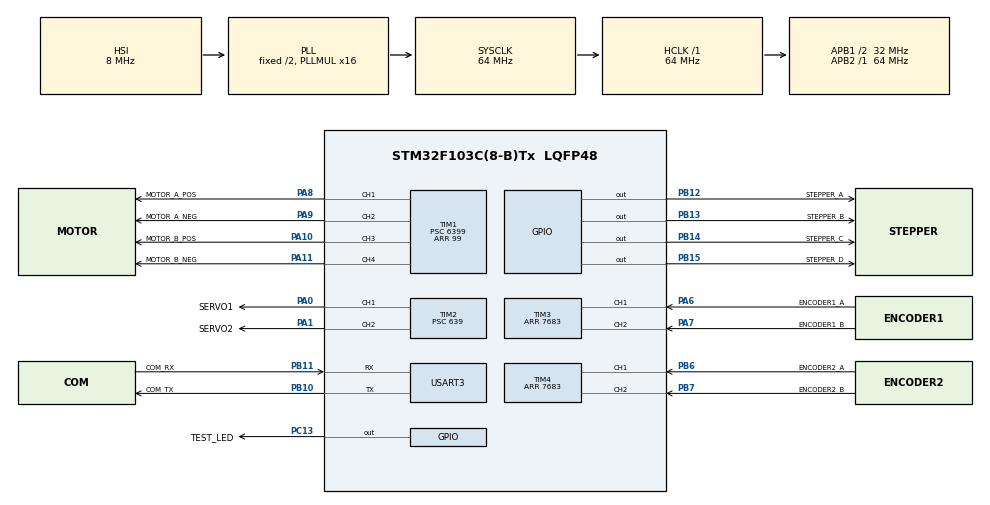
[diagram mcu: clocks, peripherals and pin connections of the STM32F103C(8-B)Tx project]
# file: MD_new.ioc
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Mcu.Family=STM32F1
Mcu.Name=STM32F103C(8-B)Tx
Mcu.Package=LQFP48
NVIC.PriorityGroup=NVIC_PRIORITYGROUP_4
NVIC.USART3_IRQn=true\:0\:0\:false\:false\:true\:true\:true
PA0-WKUP.GPIO_Label=SERVO1
PA0-WKUP.Signal=S_TIM2_CH1_ETR
PA1.GPIO_Label=SERVO2
PA1.Signal=S_TIM2_CH2
PA10.GPIO_Label=MOTOR_B_POS
PA10.Signal=S_TIM1_CH3
PA11.GPIO_Label=MOTOR_B_NEG
PA11.Signal=S_TIM1_CH4
PA6.GPIO_Label=ENCODER1_A
PA6.Signal=S_TIM3_CH1
PA7.GPIO_Label=ENCODER1_B
PA7.Signal=S_TIM3_CH2
PA8.GPIO_Label=MOTOR_A_POS
PA8.Signal=S_TIM1_CH1
PA9.GPIO_Label=MOTOR_A_NEG
PA9.Signal=S_TIM1_CH2
PB10.GPIO_Label=COM_TX
PB10.Mode=Asynchronous
PB10.Signal=USART3_TX
PB11.GPIO_Label=COM_RX
PB11.Mode=Asynchronous
PB11.Signal=USART3_RX
PB12.GPIO_Label=STEPPER_A
PB12.Signal=GPIO_Output
PB13.GPIO_Label=STEPPER_B
PB13.Signal=GPIO_Output
PB14.GPIO_Label=STEPPER_C
PB14.Signal=GPIO_Output
PB15.GPIO_Label=STEPPER_D
PB15.Signal=GPIO_Output
PB6.GPIO_Label=ENCODER2_A
PB6.Signal=S_TIM4_CH1
PB7.GPIO_Label=ENCODER2_B
PB7.Signal=S_TIM4_CH2
PC13-TAMPER-RTC.GPIO_Label=TEST_LED
PC13-TAMPER-RTC.Signal=GPIO_Output
ProjectManager.HeapSize=0x200
ProjectManager.StackSize=0x400
ProjectManager.TargetToolchain=TrueSTUDIO
RCC.AHBFreq_Value=64000000
RCC.APB1CLKDivider=RCC_HCLK_DIV2
RCC.APB1Freq_Value=32000000
RCC.APB1TimFreq_Value=64000000
RCC.APB2Freq_Value=64000000
RCC.APB2TimFreq_Value=64000000
RCC.HCLKFreq_Value=64000000
RCC.PLLMUL=RCC_PLL_MUL16
RCC.SYSCLKFreq_VALUE=64000000
RCC.SYSCLKSource=RCC_SYSCLKSOURCE_PLLCLK
RCC.USBFreq_Value=64000000
SH.S_TIM1_CH1.0=TIM1_CH1,PWM Generation1 CH1
SH.S_TIM1_CH2.0=TIM1_CH2,PWM Generation2 CH2
SH.S_TIM1_CH3.0=TIM1_CH3,PWM Generation3 CH3
SH.S_TIM1_CH4.0=TIM1_CH4,PWM Generation4 CH4
SH.S_TIM2_CH1_ETR.0=TIM2_CH1,PWM Generation1 CH1
SH.S_TIM2_CH2.0=TIM2_CH2,PWM Generation2 CH2
SH.S_TIM3_CH1.0=TIM3_CH1,Encoder_Interface
SH.S_TIM3_CH2.0=TIM3_CH2,Encoder_Interface
SH.S_TIM4_CH1.0=TIM4_CH1,Encoder_Interface
SH.S_TIM4_CH2.0=TIM4_CH2,Encoder_Interface
TIM1.Channel-PWM\ Generation1\ CH1=TIM_CHANNEL_1
TIM1.Channel-PWM\ Generation2\ CH2=TIM_CHANNEL_2
TIM1.Channel-PWM\ Generation3\ CH3=TIM_CHANNEL_3
TIM1.Channel-PWM\ Generation4\ CH4=TIM_CHANNEL_4
TIM1.OCPolarity_2=TIM_OCPOLARITY_LOW
TIM1.OCPolarity_4=TIM_OCPOLARITY_LOW
TIM1.Period=99
TIM1.Prescaler=6399
TIM1.RepetitionCounter=0
TIM2.Channel-PWM\ Generation1\ CH1=TIM_CHANNEL_1
TIM2.Channel-PWM\ Generation2\ CH2=TIM_CHANNEL_2
TIM2.Period=1999
TIM2.Prescaler=639
TIM3.EncoderMode=TIM_ENCODERMODE_TI12
TIM3.Period=7683
TIM4.EncoderMode=TIM_ENCODERMODE_TI12
TIM4.Period=7683
USART3.VirtualMode=VM_ASYNC
VP_SYS_VS_ND.Mode=No_Debug
board=custom

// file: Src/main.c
/* USER CODE BEGIN Header */
/**
  ******************************************************************************
  * @file           : main.c
  * @brief          : Main program body
  ******************************************************************************
  * @attention
  *
  * <h2><center>&copy; Copyright (c) 2019 STMicroelectronics.
  * All rights reserved.</center></h2>
  *
  * This software component is licensed by ST under BSD 3-Clause license,
  * the "License"; You may not use this file except in compliance with the
  * License. You may obtain a copy of the License at:
  *                        opensource.org/licenses/BSD-3-Clause
  *
  ******************************************************************************
  */
/* USER CODE END Header */

#include "main.h"

TIM_HandleTypeDef htim1;
TIM_HandleTypeDef htim2;
TIM_HandleTypeDef htim3;
TIM_HandleTypeDef htim4;

UART_HandleTypeDef huart3;

/* USER CODE BEGIN PV */
const uint16_t delay_time=10;
uint8_t linear_direction;
uint8_t rotary_direction;
uint8_t r_data;
uint8_t data[50];
//uint32_t pwm_duty_A=50, pwm_duty_B=50;

const uint8_t turret_position_servo_A[] = {126,30, 9};
const uint8_t turret_position_servo_B[] = {0,100, 130};
volatile uint8_t turret_config=1;

uint8_t stepper_motion=0;
volatile int8_t  steps_counter=0;
volatile uint16_t stepper_time_counter=0;
const uint16_t step_high_a[]={STEPPER_A_Pin, STEPPER_B_Pin, STEPPER_B_Pin, STEPPER_A_Pin};
const uint16_t step_high_b[]={STEPPER_C_Pin, STEPPER_C_Pin, STEPPER_D_Pin, STEPPER_D_Pin};
const uint16_t step_low_a[]={STEPPER_B_Pin, STEPPER_A_Pin, STEPPER_A_Pin, STEPPER_B_Pin};
const uint16_t step_low_b[]={STEPPER_D_Pin, STEPPER_D_Pin, STEPPER_C_Pin, STEPPER_C_Pin};
volatile char command[6];
volatile uint8_t command_counter=0;
volatile uint8_t stepper_direction=0;
volatile int8_t stepper_output=0;
volatile uint16_t stepper_steps=0;
volatile uint16_t encoder_one_pulses, encoder_two_pulses;
volatile uint16_t systick_counter=0;

//speed measure variables
volatile uint32_t position_A_tmp_1, position_A_tmp_2, position_B_tmp_1, position_B_tmp_2, counts_A, counts_B;
uint32_t position_dif_A[3];
uint32_t position_dif_B[3];
volatile uint8_t  measurement_counter=0;
volatile uint8_t sampling;
const uint8_t sampling_time=3;
const uint8_t sampling_window=3;
volatile int8_t dif_A;
volatile int8_t dif_B;
volatile uint8_t actual_speed_A, actual_speed_B;
volatile int8_t motor_A_direction=0;
volatile int8_t motor_B_direction=0;
volatile uint8_t enable_A_speed_regulation=0;
volatile uint8_t enable_B_speed_regulation=0;
volatile uint8_t target_speed_A, target_speed_B;
const uint8_t initial_pwm=50;
const uint8_t positive_speed_limit_low=100;
const uint8_t positive_speed_limit_high=109;
const uint8_t negative_speed_limit_low=0;
const uint8_t negative_speed_limit_high=9;
const uint8_t max_pwm=100;
const uint8_t min_pwm=0;
const uint8_t axis_length=10;

/* USER CODE END PV */

void SystemClock_Config(void);
static void MX_GPIO_Init(void);
static void MX_TIM2_Init(void);
static void MX_TIM3_Init(void);
static void MX_TIM4_Init(void);
static void MX_USART3_UART_Init(void);
static void MX_TIM1_Init(void);
/* USER CODE BEGIN PFP */
void HAL_SYSTICK_Callback(void);
void HAL_UART_RxCpltCallback(UART_HandleTypeDef *huart);
void parse_command(volatile char* command);
void execute_command(char function, char parameter, uint8_t value);
void stop_motor_AB();
void stop_motor_A();
void stop_motor_B();
//instrukcje sterujace
void set_speed_linear(uint8_t linear_speed);
void set_speed_rotary(uint8_t roatry_speed);
void set_speed_A(uint8_t A_speed);
void set_speed_B(uint8_t B_speed);
void set_stepper_output(uint8_t sequence_index);
void stop_stepper(void);
uint32_t min_array(uint32_t array[], uint8_t size);
//rozkazy
void move_forward(uint8_t value);
void move_backward(uint8_t value);
void turn_right(uint8_t value);
void turn_left(uint8_t value);
void turret_left(uint8_t value);
void turret_right(uint8_t value);
void turret_up(void);
void turret_down(void);
void set_turret_position(void);
void servo_A_position(uint8_t angle);
void servo_B_position(uint8_t angle);
void stepper_left(uint8_t value);
void stepper_right(uint8_t value);

/* USER CODE END PFP */

int main(void)
{

  /* MCU Configuration--------------------------------------------------------*/

  /* Reset of all peripherals, Initializes the Flash interface and the Systick. */
  HAL_Init();

  /* Configure the system clock */
  SystemClock_Config();

  /* Initialize all configured peripherals */
  MX_GPIO_Init();
  MX_TIM2_Init();
  MX_TIM3_Init();
  MX_TIM4_Init();
  MX_USART3_UART_Init();
  MX_TIM1_Init();
  /* USER CODE BEGIN 2 */
  HAL_TIM_PWM_Start(&htim1, TIM_CHANNEL_1); //DC motors
  HAL_TIM_PWM_Start(&htim1, TIM_CHANNEL_2); //DC motors
  HAL_TIM_PWM_Start(&htim1, TIM_CHANNEL_3); //DC motors
  HAL_TIM_PWM_Start(&htim1, TIM_CHANNEL_4); //DC motors
  HAL_TIM_PWM_Start(&htim2, TIM_CHANNEL_1); //servo A
  HAL_TIM_PWM_Start(&htim2, TIM_CHANNEL_2); //servo B
  HAL_TIM_Encoder_Start(&htim3,TIM_CHANNEL_ALL); //encoder A
  HAL_TIM_Encoder_Start(&htim4,TIM_CHANNEL_ALL); //encoder B
  HAL_UART_Receive_IT(&huart3,&r_data,1); //begin receiving

  //stop_motor_AB();
  HAL_GPIO_WritePin(TEST_LED_GPIO_Port, TEST_LED_Pin, 1);
  stop_motor_AB();
  stop_stepper();
  set_turret_position();
  /* USER CODE END 2 */

  /* Infinite loop */
  while (1)
  {
  }

}

void SystemClock_Config(void)
{
  RCC_OscInitTypeDef RCC_OscInitStruct = {0};
  RCC_ClkInitTypeDef RCC_ClkInitStruct = {0};

  /** Initializes the CPU, AHB and APB busses clocks
  */
  RCC_OscInitStruct.OscillatorType = RCC_OSCILLATORTYPE_HSI;
  RCC_OscInitStruct.HSIState = RCC_HSI_ON;
  RCC_OscInitStruct.HSICalibrationValue = RCC_HSICALIBRATION_DEFAULT;
  RCC_OscInitStruct.PLL.PLLState = RCC_PLL_ON;
  RCC_OscInitStruct.PLL.PLLSource = RCC_PLLSOURCE_HSI_DIV2;
  RCC_OscInitStruct.PLL.PLLMUL = RCC_PLL_MUL16;
  if (HAL_RCC_OscConfig(&RCC_OscInitStruct) != HAL_OK)
  {
    Error_Handler();
  }
  /** Initializes the CPU, AHB and APB busses clocks
  */
  RCC_ClkInitStruct.ClockType = RCC_CLOCKTYPE_HCLK|RCC_CLOCKTYPE_SYSCLK
                              |RCC_CLOCKTYPE_PCLK1|RCC_CLOCKTYPE_PCLK2;
  RCC_ClkInitStruct.SYSCLKSource = RCC_SYSCLKSOURCE_PLLCLK;
  RCC_ClkInitStruct.AHBCLKDivider = RCC_SYSCLK_DIV1;
  RCC_ClkInitStruct.APB1CLKDivider = RCC_HCLK_DIV2;
  RCC_ClkInitStruct.APB2CLKDivider = RCC_HCLK_DIV1;

  if (HAL_RCC_ClockConfig(&RCC_ClkInitStruct, FLASH_LATENCY_2) != HAL_OK)
  {
    Error_Handler();
  }
}

static void MX_TIM1_Init(void)
{

  TIM_MasterConfigTypeDef sMasterConfig = {0};
  TIM_OC_InitTypeDef sConfigOC = {0};
  TIM_BreakDeadTimeConfigTypeDef sBreakDeadTimeConfig = {0};

  htim1.Instance = TIM1;
  htim1.Init.Prescaler = 6399;
  htim1.Init.CounterMode = TIM_COUNTERMODE_UP;
  htim1.Init.Period = 99;
  htim1.Init.ClockDivision = TIM_CLOCKDIVISION_DIV1;
  htim1.Init.RepetitionCounter = 0;
  htim1.Init.AutoReloadPreload = TIM_AUTORELOAD_PRELOAD_DISABLE;
  if (HAL_TIM_PWM_Init(&htim1) != HAL_OK)
  {
    Error_Handler();
  }
  sMasterConfig.MasterOutputTrigger = TIM_TRGO_RESET;
  sMasterConfig.MasterSlaveMode = TIM_MASTERSLAVEMODE_DISABLE;
  if (HAL_TIMEx_MasterConfigSynchronization(&htim1, &sMasterConfig) != HAL_OK)
  {
    Error_Handler();
  }
  sConfigOC.OCMode = TIM_OCMODE_PWM1;
  sConfigOC.Pulse = 0;
  sConfigOC.OCPolarity = TIM_OCPOLARITY_HIGH;
  sConfigOC.OCNPolarity = TIM_OCNPOLARITY_HIGH;
  sConfigOC.OCFastMode = TIM_OCFAST_DISABLE;
  sConfigOC.OCIdleState = TIM_OCIDLESTATE_RESET;
  sConfigOC.OCNIdleState = TIM_OCNIDLESTATE_RESET;
  if (HAL_TIM_PWM_ConfigChannel(&htim1, &sConfigOC, TIM_CHANNEL_1) != HAL_OK)
  {
    Error_Handler();
  }
  sConfigOC.OCPolarity = TIM_OCPOLARITY_LOW;
  if (HAL_TIM_PWM_ConfigChannel(&htim1, &sConfigOC, TIM_CHANNEL_2) != HAL_OK)
  {
    Error_Handler();
  }
  sConfigOC.OCPolarity = TIM_OCPOLARITY_HIGH;
  if (HAL_TIM_PWM_ConfigChannel(&htim1, &sConfigOC, TIM_CHANNEL_3) != HAL_OK)
  {
    Error_Handler();
  }
  sConfigOC.OCPolarity = TIM_OCPOLARITY_LOW;
  if (HAL_TIM_PWM_ConfigChannel(&htim1, &sConfigOC, TIM_CHANNEL_4) != HAL_OK)
  {
    Error_Handler();
  }
  sBreakDeadTimeConfig.OffStateRunMode = TIM_OSSR_DISABLE;
  sBreakDeadTimeConfig.OffStateIDLEMode = TIM_OSSI_DISABLE;
  sBreakDeadTimeConfig.LockLevel = TIM_LOCKLEVEL_OFF;
  sBreakDeadTimeConfig.DeadTime = 0;
  sBreakDeadTimeConfig.BreakState = TIM_BREAK_DISABLE;
  sBreakDeadTimeConfig.BreakPolarity = TIM_BREAKPOLARITY_HIGH;
  sBreakDeadTimeConfig.AutomaticOutput = TIM_AUTOMATICOUTPUT_DISABLE;
  if (HAL_TIMEx_ConfigBreakDeadTime(&htim1, &sBreakDeadTimeConfig) != HAL_OK)
  {
    Error_Handler();
  }
  HAL_TIM_MspPostInit(&htim1);

}

static void MX_TIM2_Init(void)
{

  TIM_MasterConfigTypeDef sMasterConfig = {0};
  TIM_OC_InitTypeDef sConfigOC = {0};

  htim2.Instance = TIM2;
  htim2.Init.Prescaler = 639;
  htim2.Init.CounterMode = TIM_COUNTERMODE_UP;
  htim2.Init.Period = 1999;
  htim2.Init.ClockDivision = TIM_CLOCKDIVISION_DIV1;
  htim2.Init.AutoReloadPreload = TIM_AUTORELOAD_PRELOAD_DISABLE;
  if (HAL_TIM_PWM_Init(&htim2) != HAL_OK)
  {
    Error_Handler();
  }
  sMasterConfig.MasterOutputTrigger = TIM_TRGO_RESET;
  sMasterConfig.MasterSlaveMode = TIM_MASTERSLAVEMODE_DISABLE;
  if (HAL_TIMEx_MasterConfigSynchronization(&htim2, &sMasterConfig) != HAL_OK)
  {
    Error_Handler();
  }
  sConfigOC.OCMode = TIM_OCMODE_PWM1;
  sConfigOC.Pulse = 0;
  sConfigOC.OCPolarity = TIM_OCPOLARITY_HIGH;
  sConfigOC.OCFastMode = TIM_OCFAST_DISABLE;
  if (HAL_TIM_PWM_ConfigChannel(&htim2, &sConfigOC, TIM_CHANNEL_1) != HAL_OK)
  {
    Error_Handler();
  }
  if (HAL_TIM_PWM_ConfigChannel(&htim2, &sConfigOC, TIM_CHANNEL_2) != HAL_OK)
  {
    Error_Handler();
  }
  HAL_TIM_MspPostInit(&htim2);

}

static void MX_TIM3_Init(void)
{

  TIM_Encoder_InitTypeDef sConfig = {0};
  TIM_MasterConfigTypeDef sMasterConfig = {0};

  htim3.Instance = TIM3;
  htim3.Init.Prescaler = 0;
  htim3.Init.CounterMode = TIM_COUNTERMODE_UP;
  htim3.Init.Period = 7683;
  htim3.Init.ClockDivision = TIM_CLOCKDIVISION_DIV1;
  htim3.Init.AutoReloadPreload = TIM_AUTORELOAD_PRELOAD_DISABLE;
  sConfig.EncoderMode = TIM_ENCODERMODE_TI12;
  sConfig.IC1Polarity = TIM_ICPOLARITY_RISING;
  sConfig.IC1Selection = TIM_ICSELECTION_DIRECTTI;
  sConfig.IC1Prescaler = TIM_ICPSC_DIV1;
  sConfig.IC1Filter = 0;
  sConfig.IC2Polarity = TIM_ICPOLARITY_RISING;
  sConfig.IC2Selection = TIM_ICSELECTION_DIRECTTI;
  sConfig.IC2Prescaler = TIM_ICPSC_DIV1;
  sConfig.IC2Filter = 0;
  if (HAL_TIM_Encoder_Init(&htim3, &sConfig) != HAL_OK)
  {
    Error_Handler();
  }
  sMasterConfig.MasterOutputTrigger = TIM_TRGO_RESET;
  sMasterConfig.MasterSlaveMode = TIM_MASTERSLAVEMODE_DISABLE;
  if (HAL_TIMEx_MasterConfigSynchronization(&htim3, &sMasterConfig) != HAL_OK)
  {
    Error_Handler();
  }

}

static void MX_TIM4_Init(void)
{

  TIM_Encoder_InitTypeDef sConfig = {0};
  TIM_MasterConfigTypeDef sMasterConfig = {0};

  htim4.Instance = TIM4;
  htim4.Init.Prescaler = 0;
  htim4.Init.CounterMode = TIM_COUNTERMODE_UP;
  htim4.Init.Period = 7683;
  htim4.Init.ClockDivision = TIM_CLOCKDIVISION_DIV1;
  htim4.Init.AutoReloadPreload = TIM_AUTORELOAD_PRELOAD_DISABLE;
  sConfig.EncoderMode = TIM_ENCODERMODE_TI12;
  sConfig.IC1Polarity = TIM_ICPOLARITY_RISING;
  sConfig.IC1Selection = TIM_ICSELECTION_DIRECTTI;
  sConfig.IC1Prescaler = TIM_ICPSC_DIV1;
  sConfig.IC1Filter = 0;
  sConfig.IC2Polarity = TIM_ICPOLARITY_RISING;
  sConfig.IC2Selection = TIM_ICSELECTION_DIRECTTI;
  sConfig.IC2Prescaler = TIM_ICPSC_DIV1;
  sConfig.IC2Filter = 0;
  if (HAL_TIM_Encoder_Init(&htim4, &sConfig) != HAL_OK)
  {
    Error_Handler();
  }
  sMasterConfig.MasterOutputTrigger = TIM_TRGO_RESET;
  sMasterConfig.MasterSlaveMode = TIM_MASTERSLAVEMODE_DISABLE;
  if (HAL_TIMEx_MasterConfigSynchronization(&htim4, &sMasterConfig) != HAL_OK)
  {
    Error_Handler();
  }

}

static void MX_USART3_UART_Init(void)
{

  huart3.Instance = USART3;
  huart3.Init.BaudRate = 115200;
  huart3.Init.WordLength = UART_WORDLENGTH_8B;
  huart3.Init.StopBits = UART_STOPBITS_1;
  huart3.Init.Parity = UART_PARITY_NONE;
  huart3.Init.Mode = UART_MODE_TX_RX;
  huart3.Init.HwFlowCtl = UART_HWCONTROL_NONE;
  huart3.Init.OverSampling = UART_OVERSAMPLING_16;
  if (HAL_UART_Init(&huart3) != HAL_OK)
  {
    Error_Handler();
  }

}

static void MX_GPIO_Init(void)
{
  GPIO_InitTypeDef GPIO_InitStruct = {0};

  /* GPIO Ports Clock Enable */
  __HAL_RCC_GPIOC_CLK_ENABLE();
  __HAL_RCC_GPIOA_CLK_ENABLE();
  __HAL_RCC_GPIOB_CLK_ENABLE();

  /*Configure GPIO pin Output Level */
  HAL_GPIO_WritePin(TEST_LED_GPIO_Port, TEST_LED_Pin, GPIO_PIN_RESET);

  /*Configure GPIO pin Output Level */
  HAL_GPIO_WritePin(GPIOB, STEPPER_A_Pin|STEPPER_B_Pin|STEPPER_C_Pin|STEPPER_D_Pin, GPIO_PIN_RESET);

  /*Configure GPIO pin : TEST_LED_Pin */
  GPIO_InitStruct.Pin = TEST_LED_Pin;
  GPIO_InitStruct.Mode = GPIO_MODE_OUTPUT_PP;
  GPIO_InitStruct.Pull = GPIO_NOPULL;
  GPIO_InitStruct.Speed = GPIO_SPEED_FREQ_LOW;
  HAL_GPIO_Init(TEST_LED_GPIO_Port, &GPIO_InitStruct);

  /*Configure GPIO pins : STEPPER_A_Pin STEPPER_B_Pin STEPPER_C_Pin STEPPER_D_Pin */
  GPIO_InitStruct.Pin = STEPPER_A_Pin|STEPPER_B_Pin|STEPPER_C_Pin|STEPPER_D_Pin;
  GPIO_InitStruct.Mode = GPIO_MODE_OUTPUT_PP;
  GPIO_InitStruct.Pull = GPIO_NOPULL;
  GPIO_InitStruct.Speed = GPIO_SPEED_FREQ_LOW;
  HAL_GPIO_Init(GPIOB, &GPIO_InitStruct);

}

/* USER CODE BEGIN 4 */
void HAL_SYSTICK_Callback(void){
systick_counter++;
if(systick_counter==1000){
	systick_counter=0;
	uint8_t size=sprintf(data, "PWM A: %d --- PWM B: %d\n", TIM1->CCR1, TIM1->CCR3);
	HAL_UART_Transmit_IT(&huart3,data, size);
}

/**********POMIAR PREDKOSCI SILNIKOW DC**********/

	if(sampling == 0){
		position_A_tmp_1=TIM3->CNT;
		position_B_tmp_1=TIM4->CNT;
	}
	sampling++;
	if(sampling == sampling_time){
		position_A_tmp_2=TIM3->CNT;
		position_B_tmp_2=TIM4->CNT;
		position_dif_A[measurement_counter]=abs(position_A_tmp_2-position_A_tmp_1);
		position_dif_B[measurement_counter]=abs(position_B_tmp_2-position_B_tmp_1);
		measurement_counter++;
		sampling = 0;
		if(measurement_counter==sampling_window){
			measurement_counter=0;
			actual_speed_A = min_array(position_dif_A, sampling_window);
			actual_speed_B = min_array(position_dif_B, sampling_window);
//		}
//	}

/*************************************************/

/**********REGULACJA PREDKOSCI SILNIKOW DC*********/

//regulacja silnika A
	if(enable_A_speed_regulation==1){
		dif_A = target_speed_A - actual_speed_A;

		if(motor_A_direction==1){
			if(dif_A>0){
				if(TIM1->CCR1<max_pwm){
					TIM1->CCR1++;
					TIM1->CCR2++;
				}
			}
			else if(dif_A<0){
				if(TIM1->CCR1>min_pwm){
					TIM1->CCR1--;
					TIM1->CCR2--;
				}
			}
			else if(dif_A==0){
				enable_A_speed_regulation=0;
			}

		}
		else if(motor_A_direction==-1){
			if(dif_A>0){
				if(TIM1->CCR1>min_pwm){
					TIM1->CCR1--;
					TIM1->CCR2--;
				}
			}
			else if(dif_A<0){
				if(TIM1->CCR1<max_pwm){
					TIM1->CCR1++;
					TIM1->CCR2++;
				}
			}
			else if(dif_A==0){
				enable_A_speed_regulation=0;
			}
		}
	}}}

/*************************************************/

/**********STEROWANIE SILNIKIEM KROKOWYM**********/
	//obroty krokowki w lewo
if(stepper_motion==1){
	HAL_GPIO_WritePin(TEST_LED_GPIO_Port, TEST_LED_Pin, 0);
	stepper_time_counter++;
	if(stepper_time_counter==5){
		stepper_time_counter=0;
		switch(stepper_direction){
		case 0:
			set_stepper_output(steps_counter);
			steps_counter++;
			if(steps_counter==4){
				steps_counter=0;
				stepper_steps--;
			}
			break;

		case 1:
			set_stepper_output(steps_counter);
			steps_counter--;
			if(steps_counter==-1){
				steps_counter=3;
				stepper_steps--;
			}
			break;
		default : break;
		}

	}
	if(stepper_steps==0){
		stepper_motion=0;
		stop_stepper();
		HAL_GPIO_WritePin(TEST_LED_GPIO_Port, TEST_LED_Pin, 1);
	}
}
/*************************************************/

}

void HAL_UART_RxCpltCallback(UART_HandleTypeDef *huart){
	//HAL_GPIO_TogglePin(TEST_LED_GPIO_Port,TEST_LED_Pin);
	char c_received = (char)r_data;
	command[command_counter]=r_data;
	if(c_received == '\n'){
		command_counter=0;
		parse_command(command);
	}
	else{
		command_counter++;
	}
	HAL_UART_Receive_IT(&huart3,&r_data,1);
}

uint32_t min_array(uint32_t array[], uint8_t size){
	uint32_t tmp_min=array[0];
	for(uint8_t elem=1;elem<size;elem++){
		if(array[elem]<tmp_min){
			tmp_min=array[elem];
		}
	}
	return tmp_min;
}

void set_stepper_output(uint8_t sequence_index){
	HAL_GPIO_WritePin(GPIOB, step_high_a[sequence_index], 1);
	HAL_GPIO_WritePin(GPIOB, step_high_b[sequence_index],1);
	HAL_GPIO_WritePin(GPIOB, step_low_a[sequence_index] ,0);
	HAL_GPIO_WritePin(GPIOB, step_low_b[sequence_index] ,0);
}

void stop_motor_A(void){
	TIM1->CCR1 = 0;
	TIM1->CCR2 = 100;
	motor_A_direction=0;
}

 void stop_motor_B(void){
	 TIM1->CCR3 = 0;
	 TIM1->CCR4 = 100;
	 motor_B_direction=0;
 }

void stop_motor_AB(void){
	stop_motor_A();
	stop_motor_B();
}

void stop_stepper(void){
	HAL_GPIO_WritePin(GPIOB, STEPPER_A_Pin, 1);
	HAL_GPIO_WritePin(GPIOB, STEPPER_B_Pin, 1);
	HAL_GPIO_WritePin(GPIOB, STEPPER_C_Pin, 1);
	HAL_GPIO_WritePin(GPIOB, STEPPER_D_Pin, 1);
}
void parse_command(volatile char* command){
	char function, parameter;
	char value[4];
	uint8_t t_data[6];
	uint8_t num_value;
	function=command[0];
	parameter=command[1];
	for (uint8_t c=0;c<4;c++){
		value[c]=command[c+2];
	}
	num_value=atoi(value);
	uint8_t size = sprintf(t_data,"C:%c, P:%c, V:%d\n",function, parameter, num_value);
//	HAL_UART_Transmit_IT(&huart3,t_data,size);
	execute_command(function, parameter, num_value);
}

//zakres predkosci 0-10, pierwsza cyfra kierunek 1-przod, brak - tyl
void set_speed_A(uint8_t A_speed){
	if(A_speed==positive_speed_limit_low || A_speed==negative_speed_limit_low){
		stop_motor_A();
		enable_A_speed_regulation = 0;
		target_speed_A=0;
	}
	else if(A_speed>positive_speed_limit_low && A_speed<positive_speed_limit_high){
		if((motor_A_direction==-1) || (motor_A_direction==0)){
			TIM1->CCR1=initial_pwm;
			TIM1->CCR2=initial_pwm;
		}
		motor_A_direction = 1;//przod
		target_speed_A = A_speed-100;
		enable_A_speed_regulation = 1;
	}
	else if(A_speed>negative_speed_limit_low && A_speed <negative_speed_limit_high){
		if((motor_A_direction==1) || (motor_A_direction==0)){
			TIM1->CCR1=initial_pwm;
			TIM1->CCR2=initial_pwm;
		}
		motor_A_direction = -1;//tyl
		target_speed_A = A_speed;
		enable_A_speed_regulation = 1;
	}
}

void set_speed_B(uint8_t B_speed){
	if(B_speed==50){
		stop_motor_B();
	}
	else{
		TIM1->CCR3 = B_speed;
		TIM1->CCR4 = B_speed;
	}
//	target_speed_B = B_speed;
//	if(B_speed==0){
//			TIM1->CCR3=125;
//			TIM1->CCR4=125;
//			enable_B_speed_regulation=0;
//	}
//	else{
//		if(B_speed>100){
//			target_speed_B = B_speed - 100;
//			motor_B_direction = 1;
//		}
//		else{
//			target_speed_B = B_speed;
//			motor_B_direction = 0;
//		}
//		enable_B_speed_regulation = 1;
//	}
}

void set_speed_linear(uint8_t linear_speed){
	set_speed_A(linear_speed);
	set_speed_B(linear_speed);
}

void set_speed_rotary(uint8_t rotary_speed){

}

void move_forward(uint8_t value){

}

void move_backward(uint8_t value){

}

void turn_left(uint8_t value){

}

void turn_right(uint8_t value){

}

void turret_left(uint8_t value){
	stepper_left(value);
}

void turret_right(uint8_t value){
	stepper_right(value);
}

void turret_up(void){
	turret_config++;
	if(turret_config==3){
		turret_config--;
	}
	set_turret_position();
}

void turret_down(void){
	turret_config--;
	if(turret_config>3){
		turret_config++;
	}
	set_turret_position();
}

void set_turret_position(){
servo_A_position(turret_position_servo_A[turret_config]);
servo_B_position(turret_position_servo_B[turret_config]);
}

void servo_A_position(uint8_t angle){
	uint16_t pwm_value = 100 + (angle*125)/135;
	TIM2->CCR1=pwm_value;
}

void servo_B_position(uint8_t angle){
	uint16_t pwm_value = 100 + (angle*125)/135;
	TIM2->CCR2=pwm_value;
}

void stepper_left(uint8_t value){
	stepper_motion=1;
	stepper_direction=0;
	stepper_steps=value;
	steps_counter=0;
}

void stepper_right(uint8_t value){
	stepper_motion=1;
	stepper_direction=1;
	stepper_steps=value;
	steps_counter=3;
}

void execute_command(char function, char parameter, uint8_t value){
	switch(function){
	//ruch liniowy
	case 'M':
		switch(parameter){
		//ruch naprzod
		case 'F': move_forward(value);
		break;

		//ruch do tylu
		case 'R': move_backward(value);
		break;

		//ruch napedem A
		case 'A': set_speed_A(value);
		break;

		//ruch napedem B
		case 'B': set_speed_B(value);
		break;

		default: break;
		}
		break;
	//ruch obrotowy
	case 'R':
		switch(parameter){
		//obrot w lewo
		case 'L': turn_left(value);
		break;

		//obrot w prawo
		case 'R':turn_right(value);
		break;

		default: break;
		}
		break;
	//sterowanie wiezyczka
	case 'T':
		switch(parameter){
		//obrot w lewo
		case 'L': stepper_left(value);
		break;

		//obrot w prawo
		case 'R': stepper_right(value);
		break;

		//ruch w gore
		case 'U': turret_up();
		break;

		//ruch w dol
		case 'D': turret_down();
		break;

		default: break;
		}
		break;
	//sterowanie serwomechanizmami
	case 'S':
		switch(parameter){
		//pozycja serwomechanizmu A
		case 'A': servo_A_position(value);
		break;

		//pozycja serwomechanizmu B
		case 'B': servo_B_position(value);
		break;

		default: break;
		}
		break;
	//sterowanie silnikiem krokowym
	case 's':
		switch(parameter){
		//ruch w kierunku pozytywnym
		case 'P': stepper_left(value);
		break;

		//ruch w kierunku negatywnyn
		case 'N': stepper_right(value);
		break;

		//polozenie katowe
		case 'A': //stepper_position(value);
		break;

		default: break;
		}
		break;
	default:	break;
	}
}

/* USER CODE END 4 */

void Error_Handler(void)
{
}

/************************ (C) COPYRIGHT STMicroelectronics *****END OF FILE****/
